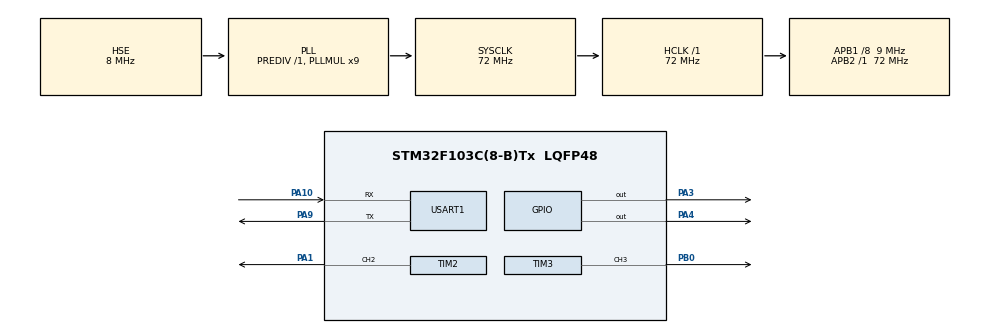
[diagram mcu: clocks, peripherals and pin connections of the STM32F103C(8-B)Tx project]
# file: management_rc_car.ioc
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Mcu.Family=STM32F1
Mcu.Name=STM32F103C(8-B)Tx
Mcu.Package=LQFP48
NVIC.PriorityGroup=NVIC_PRIORITYGROUP_4
NVIC.USART1_IRQn=true\:0\:0\:false\:false\:true\:true\:true
PA1.Signal=S_TIM2_CH2
PA10.Mode=Asynchronous
PA10.Signal=USART1_RX
PA13.Mode=Serial_Wire
PA13.Signal=SYS_JTMS-SWDIO
PA14.Mode=Serial_Wire
PA14.Signal=SYS_JTCK-SWCLK
PA3.Signal=GPIO_Output
PA4.Signal=GPIO_Output
PA9.Mode=Asynchronous
PA9.Signal=USART1_TX
PB0.Signal=S_TIM3_CH3
PD0-OSC_IN.Mode=HSE-External-Oscillator
PD0-OSC_IN.Signal=RCC_OSC_IN
PD1-OSC_OUT.Mode=HSE-External-Oscillator
PD1-OSC_OUT.Signal=RCC_OSC_OUT
ProjectManager.HeapSize=0x200
ProjectManager.StackSize=0x400
ProjectManager.TargetToolchain=MDK-ARM V5.32
RCC.AHBFreq_Value=72000000
RCC.APB1CLKDivider=RCC_HCLK_DIV8
RCC.APB1Freq_Value=9000000
RCC.APB1TimFreq_Value=18000000
RCC.APB2Freq_Value=72000000
RCC.APB2TimFreq_Value=72000000
RCC.HCLKFreq_Value=72000000
RCC.PLLMUL=RCC_PLL_MUL9
RCC.PLLSourceVirtual=RCC_PLLSOURCE_HSE
RCC.SYSCLKFreq_VALUE=72000000
RCC.SYSCLKSource=RCC_SYSCLKSOURCE_PLLCLK
RCC.USBFreq_Value=72000000
SH.S_TIM2_CH2.0=TIM2_CH2,PWM Generation2 CH2
SH.S_TIM3_CH3.0=TIM3_CH3,PWM Generation3 CH3
TIM2.Channel-PWM\ Generation2\ CH2=TIM_CHANNEL_2
TIM2.Period=2300 - 1
TIM2.Prescaler=18 - 1
TIM2.Pulse-PWM\ Generation2\ CH2=1150
TIM3.Channel-PWM\ Generation3\ CH3=TIM_CHANNEL_3
TIM3.Period=2000
TIM3.Prescaler=19
TIM3.Pulse-PWM\ Generation3\ CH3=50
USART1.VirtualMode=VM_ASYNC
VP_TIM2_VS_ClockSourceINT.Mode=Internal
VP_TIM3_VS_ClockSourceINT.Mode=Internal
board=custom

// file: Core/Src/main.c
/* USER CODE BEGIN Header */
/**
  ******************************************************************************
  * @file           : main.c
  * @brief          : Main program body
  ******************************************************************************
  * @attention
  *
  * <h2><center>&copy; Copyright (c) 2023 STMicroelectronics.
  * All rights reserved.</center></h2>
  *
  * This software component is licensed by ST under BSD 3-Clause license,
  * the "License"; You may not use this file except in compliance with the
  * License. You may obtain a copy of the License at:
  *                        opensource.org/licenses/BSD-3-Clause
  *
  ******************************************************************************
  */
/* USER CODE END Header */
#include "main.h"

/* USER CODE BEGIN Includes */
#include "servo.h"
#include "motor.h"
/* USER CODE END Includes */

/* USER CODE BEGIN PM */
uint8_t buf[1];
uint8_t message[8];
uint8_t check = 0;
uint16_t servo_val;
uint16_t motor_val;
/* USER CODE END PM */

TIM_HandleTypeDef htim2;
TIM_HandleTypeDef htim3;

UART_HandleTypeDef huart1;

void SystemClock_Config(void);
static void MX_GPIO_Init(void);
static void MX_TIM2_Init(void);
static void MX_TIM3_Init(void);
static void MX_USART1_UART_Init(void);

/* USER CODE BEGIN 0 */

void HAL_UART_RxCpltCallback(UART_HandleTypeDef *huart)
{
	if (buf[0] == 0x7E) check = 1;
	if (buf[0] == 0x8A) check = 0;
	if (buf[0] != 0x7E && buf[0] != 0x8A && check >= 1) check++;
	if (check > 1)
		{
			message[check - 2] = buf[0];
		}
	HAL_UART_Receive_IT (&huart1, buf, 1);
}
/* USER CODE END 0 */

int main(void)
{

  /* MCU Configuration--------------------------------------------------------*/

  /* Reset of all peripherals, Initializes the Flash interface and the Systick. */
  HAL_Init();

  /* Configure the system clock */
  SystemClock_Config();

  /* Initialize all configured peripherals */
  MX_GPIO_Init();
  MX_TIM2_Init();
  MX_TIM3_Init();
  MX_USART1_UART_Init();
  /* USER CODE BEGIN 2 */
	HAL_TIM_PWM_Start(&htim3, TIM_CHANNEL_3);
	HAL_TIM_PWM_Start(&htim2, TIM_CHANNEL_2);
	HAL_UART_Receive_IT (&huart1, (uint8_t *)buf, 1);

	//start_settings();

  /* USER CODE END 2 */

  /* Infinite loop */
  /* USER CODE BEGIN WHILE */
  while (1)
  {
		__HAL_TIM_SET_COMPARE(&htim2,TIM_CHANNEL_2, 1000);
		/*servo_val = message[0]|(message[1]<<8)|(message[2]<<16)|(message[3]<<24);
		motor_val = message[4]|(message[5]<<8)|(message[6]<<16)|(message[7]<<24);
		HAL_Delay(10);
		uint16_t angle = 180 - (servo_val * 180)/ 1024;
		speed_regulation(motor_val);
		servo_rotate(angle);*/

    /* USER CODE END WHILE */

  }
}

void SystemClock_Config(void)
{
  RCC_OscInitTypeDef RCC_OscInitStruct = {0};
  RCC_ClkInitTypeDef RCC_ClkInitStruct = {0};

  /** Initializes the RCC Oscillators according to the specified parameters
  * in the RCC_OscInitTypeDef structure.
  */
  RCC_OscInitStruct.OscillatorType = RCC_OSCILLATORTYPE_HSE;
  RCC_OscInitStruct.HSEState = RCC_HSE_ON;
  RCC_OscInitStruct.HSEPredivValue = RCC_HSE_PREDIV_DIV1;
  RCC_OscInitStruct.HSIState = RCC_HSI_ON;
  RCC_OscInitStruct.PLL.PLLState = RCC_PLL_ON;
  RCC_OscInitStruct.PLL.PLLSource = RCC_PLLSOURCE_HSE;
  RCC_OscInitStruct.PLL.PLLMUL = RCC_PLL_MUL9;
  if (HAL_RCC_OscConfig(&RCC_OscInitStruct) != HAL_OK)
  {
    Error_Handler();
  }
  /** Initializes the CPU, AHB and APB buses clocks
  */
  RCC_ClkInitStruct.ClockType = RCC_CLOCKTYPE_HCLK|RCC_CLOCKTYPE_SYSCLK
                              |RCC_CLOCKTYPE_PCLK1|RCC_CLOCKTYPE_PCLK2;
  RCC_ClkInitStruct.SYSCLKSource = RCC_SYSCLKSOURCE_PLLCLK;
  RCC_ClkInitStruct.AHBCLKDivider = RCC_SYSCLK_DIV1;
  RCC_ClkInitStruct.APB1CLKDivider = RCC_HCLK_DIV8;
  RCC_ClkInitStruct.APB2CLKDivider = RCC_HCLK_DIV1;

  if (HAL_RCC_ClockConfig(&RCC_ClkInitStruct, FLASH_LATENCY_2) != HAL_OK)
  {
    Error_Handler();
  }
}

static void MX_TIM2_Init(void)
{

  TIM_ClockConfigTypeDef sClockSourceConfig = {0};
  TIM_MasterConfigTypeDef sMasterConfig = {0};
  TIM_OC_InitTypeDef sConfigOC = {0};

  htim2.Instance = TIM2;
  htim2.Init.Prescaler = 18 - 1;
  htim2.Init.CounterMode = TIM_COUNTERMODE_UP;
  htim2.Init.Period = 2300 - 1;
  htim2.Init.ClockDivision = TIM_CLOCKDIVISION_DIV1;
  htim2.Init.AutoReloadPreload = TIM_AUTORELOAD_PRELOAD_DISABLE;
  if (HAL_TIM_Base_Init(&htim2) != HAL_OK)
  {
    Error_Handler();
  }
  sClockSourceConfig.ClockSource = TIM_CLOCKSOURCE_INTERNAL;
  if (HAL_TIM_ConfigClockSource(&htim2, &sClockSourceConfig) != HAL_OK)
  {
    Error_Handler();
  }
  if (HAL_TIM_PWM_Init(&htim2) != HAL_OK)
  {
    Error_Handler();
  }
  sMasterConfig.MasterOutputTrigger = TIM_TRGO_RESET;
  sMasterConfig.MasterSlaveMode = TIM_MASTERSLAVEMODE_DISABLE;
  if (HAL_TIMEx_MasterConfigSynchronization(&htim2, &sMasterConfig) != HAL_OK)
  {
    Error_Handler();
  }
  sConfigOC.OCMode = TIM_OCMODE_PWM1;
  sConfigOC.Pulse = 1150;
  sConfigOC.OCPolarity = TIM_OCPOLARITY_HIGH;
  sConfigOC.OCFastMode = TIM_OCFAST_DISABLE;
  if (HAL_TIM_PWM_ConfigChannel(&htim2, &sConfigOC, TIM_CHANNEL_2) != HAL_OK)
  {
    Error_Handler();
  }
  HAL_TIM_MspPostInit(&htim2);

}

static void MX_TIM3_Init(void)
{

  TIM_ClockConfigTypeDef sClockSourceConfig = {0};
  TIM_MasterConfigTypeDef sMasterConfig = {0};
  TIM_OC_InitTypeDef sConfigOC = {0};

  htim3.Instance = TIM3;
  htim3.Init.Prescaler = 19;
  htim3.Init.CounterMode = TIM_COUNTERMODE_UP;
  htim3.Init.Period = 2000;
  htim3.Init.ClockDivision = TIM_CLOCKDIVISION_DIV1;
  htim3.Init.AutoReloadPreload = TIM_AUTORELOAD_PRELOAD_DISABLE;
  if (HAL_TIM_Base_Init(&htim3) != HAL_OK)
  {
    Error_Handler();
  }
  sClockSourceConfig.ClockSource = TIM_CLOCKSOURCE_INTERNAL;
  if (HAL_TIM_ConfigClockSource(&htim3, &sClockSourceConfig) != HAL_OK)
  {
    Error_Handler();
  }
  if (HAL_TIM_PWM_Init(&htim3) != HAL_OK)
  {
    Error_Handler();
  }
  sMasterConfig.MasterOutputTrigger = TIM_TRGO_RESET;
  sMasterConfig.MasterSlaveMode = TIM_MASTERSLAVEMODE_DISABLE;
  if (HAL_TIMEx_MasterConfigSynchronization(&htim3, &sMasterConfig) != HAL_OK)
  {
    Error_Handler();
  }
  sConfigOC.OCMode = TIM_OCMODE_PWM1;
  sConfigOC.Pulse = 50;
  sConfigOC.OCPolarity = TIM_OCPOLARITY_HIGH;
  sConfigOC.OCFastMode = TIM_OCFAST_DISABLE;
  if (HAL_TIM_PWM_ConfigChannel(&htim3, &sConfigOC, TIM_CHANNEL_3) != HAL_OK)
  {
    Error_Handler();
  }
  HAL_TIM_MspPostInit(&htim3);

}

static void MX_USART1_UART_Init(void)
{

  huart1.Instance = USART1;
  huart1.Init.BaudRate = 115200;
  huart1.Init.WordLength = UART_WORDLENGTH_8B;
  huart1.Init.StopBits = UART_STOPBITS_1;
  huart1.Init.Parity = UART_PARITY_NONE;
  huart1.Init.Mode = UART_MODE_TX_RX;
  huart1.Init.HwFlowCtl = UART_HWCONTROL_NONE;
  huart1.Init.OverSampling = UART_OVERSAMPLING_16;
  if (HAL_UART_Init(&huart1) != HAL_OK)
  {
    Error_Handler();
  }

}

static void MX_GPIO_Init(void)
{
  GPIO_InitTypeDef GPIO_InitStruct = {0};

  /* GPIO Ports Clock Enable */
  __HAL_RCC_GPIOD_CLK_ENABLE();
  __HAL_RCC_GPIOA_CLK_ENABLE();
  __HAL_RCC_GPIOB_CLK_ENABLE();

  /*Configure GPIO pin Output Level */
  HAL_GPIO_WritePin(GPIOA, GPIO_PIN_3|GPIO_PIN_4, GPIO_PIN_RESET);

  /*Configure GPIO pins : PA3 PA4 */
  GPIO_InitStruct.Pin = GPIO_PIN_3|GPIO_PIN_4;
  GPIO_InitStruct.Mode = GPIO_MODE_OUTPUT_PP;
  GPIO_InitStruct.Pull = GPIO_NOPULL;
  GPIO_InitStruct.Speed = GPIO_SPEED_FREQ_LOW;
  HAL_GPIO_Init(GPIOA, &GPIO_InitStruct);

}

void Error_Handler(void)
{
  __disable_irq();
  while (1)
  {
  }
}

/************************ (C) COPYRIGHT STMicroelectronics *****END OF FILE****/
